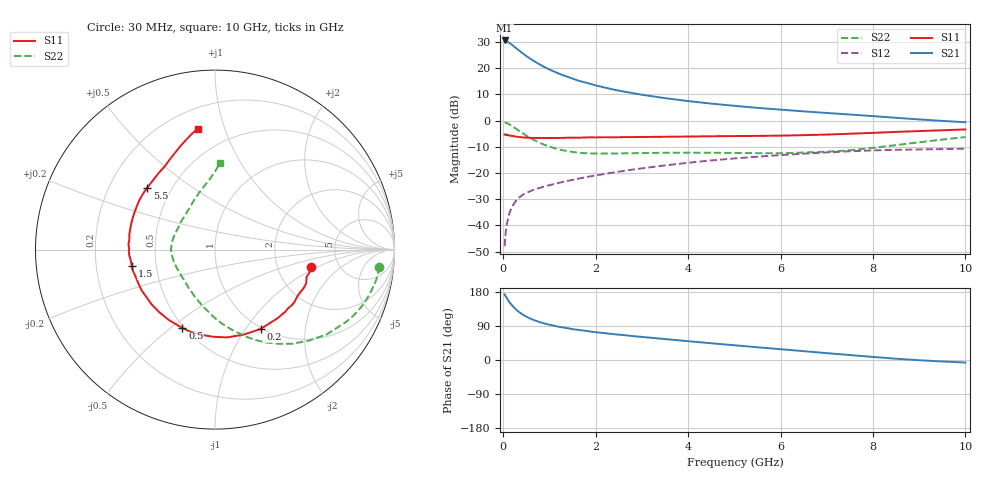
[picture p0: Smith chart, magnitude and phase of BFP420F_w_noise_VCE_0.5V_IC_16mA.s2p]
! Infineon Technologies  Discrete & RF Semiconductors
! BFP420F
! VCE =  0.5 V,  IC =  16 mA
! Common Emitter S-Parameters:  Sep 2011
# GHz  S  MA  R  50
!  f  S11  S21  S12  S22
! GHz  MAG  ANG  MAG  ANG  MAG  ANG  MAG  ANG
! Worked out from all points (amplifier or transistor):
!   54 points, 30 MHz to 10 GHz, reference 50 ohm
!   highest |S21| = 30.6 dB at 30 MHz (marker M1)
!   |S21| within 3 dB of that: start of sweep to 283.2 MHz
!   unconditionally stable (mu >= 1): 1.612 GHz to end of sweep
!   at 120 MHz: K = 0.25, MSG = 33.1 dB, |S12| = -36.4 dB
!   at 1.3 GHz: K = 0.91, MSG = 20.3 dB, |S12| = -23.4 dB
!   at 10 GHz: K = 1.22, MAG = 2.2 dB, |S12| = -10.7 dB
!   lowest NFmin = 1.40 dB at 450 MHz
!   S11 on the Smith chart (normalised r, x): 30 MHz: 3.12, -0.85; 200 MHz: 0.98, -1.18; 500 MHz: 0.49, -0.55; 1.5 GHz: 0.36, -0.08; 5.5 GHz: 0.37, +0.34; 10 GHz: 0.32, +0.81
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0.03  0.5436 -10.2  34.05 173.1  0.004 86.9  0.9207 -6.0
0.07  0.5381 -23.9  33.17 165.0  0.0094 81.0  0.9014 -14.4
0.1  0.5302 -32.9  32.12 158.8  0.0128 78.3  0.8807 -20.1
0.12  0.5222 -39.0  31.2 155.1  0.0152 75.8  0.863 -23.8
0.15  0.5179 -47.3  29.76 150.2  0.0187 72.7  0.8309 -29.3
0.2  0.51 -60.1  27.58 142.9  0.0233 68.2  0.7821 -37.1
0.25  0.4997 -72.0  25.35 136.4  0.0274 64.6  0.7284 -44.1
0.3  0.4938 -82.2  23.5 130.7  0.0313 61.5  0.679 -50.6
0.35  0.4856 -91.1  21.62 125.9  0.0342 59.2  0.633 -56.0
0.4  0.4809 -99.1  19.95 121.6  0.037 57.4  0.5913 -61.1
0.5  0.4734 -112.5  17.18 114.4  0.0417 54.6  0.5178 -70.0
0.6  0.4691 -123.3  14.91 108.6  0.0455 53.0  0.458 -77.9
0.8  0.4668 -139.4  11.71 99.5  0.0523 51.5  0.3744 -91.3
1.1  0.4671 -155.0  8.691 90.4  0.0616 51.2  0.2988 -108.5
1.5  0.4721 -169.0  6.367 81.4  0.074 51.7  0.2519 -127.7
1.7  0.4743 -173.7  5.581 78.3  0.0802 51.8  0.2409 -136.3
2.4  0.4803 173.1  3.899 68.0  0.1028 51.1  0.2364 -157.0
3.5  0.4922 158.1  2.69 55.3  0.1397 47.6  0.2435 -174.3
5.5  0.5113 137.6  1.757 33.6  0.2051 35.6  0.2393 157.9
7  0.5421 121.0  1.402 18.1  0.2473 25.0  0.255 130.3
8.5  0.6097 108.2  1.134 3.4  0.277 13.4  0.3414 103.1
10  0.6799 98.2  0.932 -6.7  0.2912 4.9  0.4855 86.7
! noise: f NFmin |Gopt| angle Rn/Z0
0.45  1.4  0.11  177  0.19
0.9  1.41  0.12  171  0.13
1.9  1.53  0.22  -175  0.14
2.4  1.59  0.22  -173  0.12
3.5  1.84  0.26  -161  0.16
